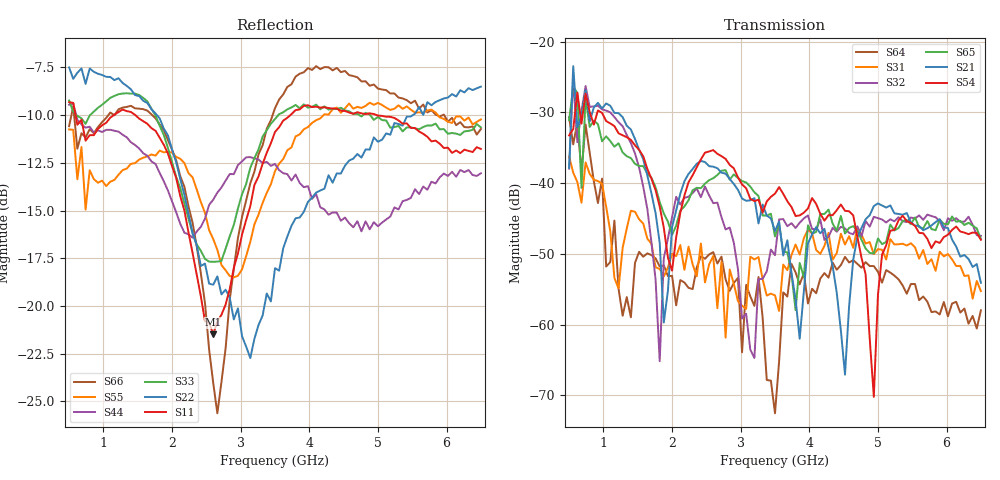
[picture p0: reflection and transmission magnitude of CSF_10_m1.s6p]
!Keysight Technologies,M9804A,MY58100912,A.14.10.03
!Date: Thursday, April 27, 2023 10:28:33
!Correction: S11(C  6-Port  )
!S12(C  6-Port  )
!S13(C  6-Port  )
!S14(C  6-Port  )
!S15(C  6-Port  )
!S16(C  6-Port  )
!S21(C  6-Port  )
!S22(C  6-Port  )
!S23(C  6-Port  )
!S24(C  6-Port  )
!S25(C  6-Port  )
!S26(C  6-Port  )
!S31(C  6-Port  )
!S32(C  6-Port  )
!S33(C  6-Port  )
!S34(C  6-Port  )
!S35(C  6-Port  )
!S36(C  6-Port  )
!S41(C  6-Port  )
!S42(C  6-Port  )
!S43(C  6-Port  )
!S44(C  6-Port  )
!S45(C  6-Port  )
!S46(C  6-Port  )
!S51(C  6-Port  )
!S52(C  6-Port  )
!S53(C  6-Port  )
!S54(C  6-Port  )
!S55(C  6-Port  )
!S56(C  6-Port  )
!S61(C  6-Port  )
!S62(C  6-Port  )
!S63(C  6-Port  )
!S64(C  6-Port  )
!S65(C  6-Port  )
!S66(C  6-Port  )
!S6P File: Measurement: :
# Hz S  RI  R 50
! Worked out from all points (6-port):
!   101 points, 500 MHz to 6.5 GHz, reference 50 ohm
!   strongest paths, dB at 500 MHz, 2 GHz, 3.5 GHz, 5 GHz, 6.5 GHz:
!     S54: -33.3, -52.4, -41.5, -55.8, -48.0
!     S21: -37.8, -46.2, -46.8, -42.9, -54.1
!     S65: -31.1, -47.3, -47.5, -47.8, -47.9
!     S32: -38.0, -44.8, -50.2, -45.0, -47.5
!     S31: -36.2, -50.0, -55.9, -49.3, -55.3
!     S64: -30.7, -53.1, -72.5, -52.5, -58.0
!   lowest |S11| = -21.5 dB at 2.6 GHz (marker M1), VSWR 1.18, Z = 42.6 + j2.32 ohm
!   |S11| at or under -10 dB: 593.6 MHz to 1.15 GHz (556.4 MHz wide, 63.8 % of centre); 1.465 GHz to 3.724 GHz (2.259 GHz wide, 87.1 % of centre); 4.983 GHz to end of sweep
